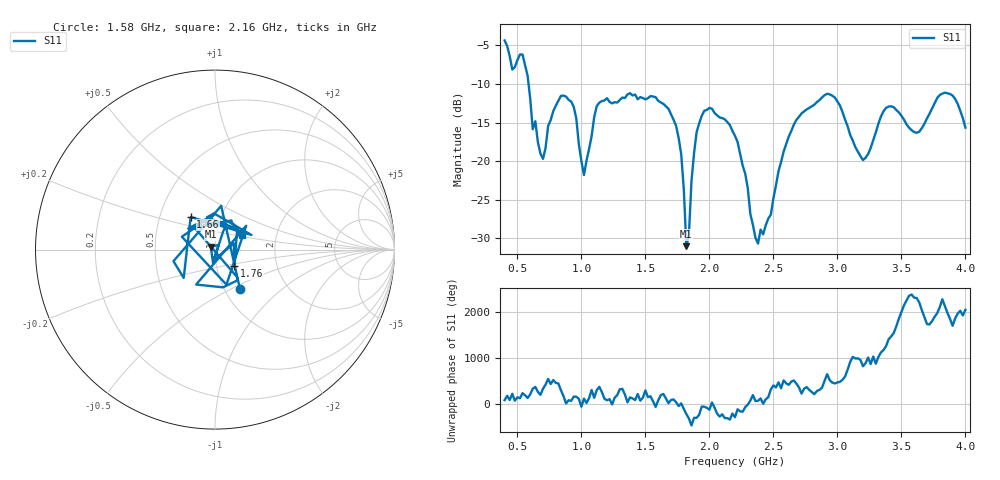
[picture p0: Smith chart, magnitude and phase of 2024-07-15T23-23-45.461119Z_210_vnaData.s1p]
!Created with skrf (http://scikit-rf.org).
# Hz S RI R 50.0
!freq ReS11 ImS11
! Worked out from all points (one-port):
!   181 points, 400 MHz to 4 GHz, reference 50 ohm
!   lowest |S11| = -31.0 dB at 1.82 GHz (marker M1), VSWR 1.06, Z = 47.7 + j1.48 ohm
!   |S11| at or under -10 dB: 587.1 MHz to end of sweep
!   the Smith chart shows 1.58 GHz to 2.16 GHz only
!   S11 on the Smith chart (normalised r, x): 1.58 GHz: 1.18, -0.56; 1.66 GHz: 0.72, +0.27; 1.76 GHz: 1.22, -0.22; 2.16 GHz: 1.34, +0.22
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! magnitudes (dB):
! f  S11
! 400 MHz  -4.4
! 460 MHz  -8.1
! 540 MHz  -6.2
! 620 MHz  -15.9
! 700 MHz  -19.7
! 860 MHz  -11.5
! 940 MHz  -13.0
! 1.02 GHz  -21.8
! 1.12 GHz  -12.9
! 1.3 GHz  -12.1
! 1.58 GHz  -11.7
! 1.66 GHz  -12.9
! 1.76 GHz  -17.0
! 1.8 GHz  -23.6
! 1.82 GHz  -31.0
! 1.88 GHz  -19.0
! 1.94 GHz  -14.1
! 2.16 GHz  -15.3
! 2.2 GHz  -16.7
! 2.38 GHz  -30.7
! 2.66 GHz  -15.3
! 2.92 GHz  -11.3
! 3.1 GHz  -16.6
! 3.2 GHz  -19.9
! 3.38 GHz  -13.1
! 3.56 GHz  -15.7
! 3.84 GHz  -11.1
! 4 GHz  -15.7
